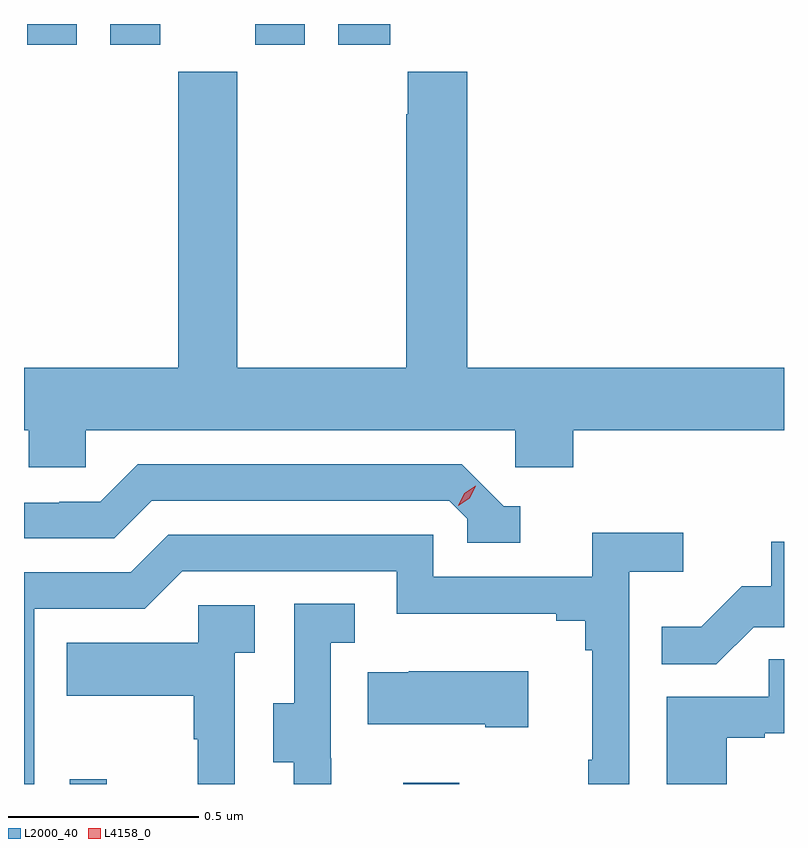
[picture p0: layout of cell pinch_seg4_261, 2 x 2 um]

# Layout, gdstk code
import gdstk
lib = gdstk.Library(unit=1e-6, precision=1e-09)
def R(c, l, rs):  # rectangles x0, y0, x1, y1
    for r in rs: c.add(gdstk.rectangle(r[:2], r[2:], *l))
def P(c, l, *ps):  # polygons
    for p in ps: c.add(gdstk.Polygon(p, *l))
L2000_40 = (2000, 40)
L4158_0 = (4158, 0)

pinch_seg4_261 = lib.new_cell('pinch_seg4_261')
R(pinch_seg4_261, L2000_40, [(934.557,817.201,934.655,817.213), (935.435,817.201,935.583,817.204), (934.445,819.147,934.576,819.201), (934.664,819.147,934.795,819.201), (935.045,819.147,935.176,819.201), (935.264,819.147,935.401,819.201)])
P(pinch_seg4_261, L2000_40, [(935.73,818.034),(935.882,818.034),(935.882,818.132),(936.437,818.132),(936.437,818.296),(935.603,818.296),(935.603,819.076),(935.447,819.076),(935.447,818.963),(935.443,818.963),(935.443,818.296),(934.998,818.296),(934.998,819.076),(934.843,819.076),(934.843,818.296),(934.437,818.296),(934.437,818.132),(934.449,818.132),(934.449,818.034),(934.599,818.034),(934.599,818.132),(935.73,818.132)],
  [(935.743,817.932),(935.7,817.932),(935.589,818.043),(934.736,818.043),(934.637,817.944),(934.53,817.944),(934.53,817.941),(934.437,817.941),(934.437,817.848),(934.674,817.848),(934.773,817.947),(935.556,817.947),(935.604,817.899),(935.604,817.836),(935.743,817.836)],
  [(934.464,817.662),(934.755,817.662),(934.854,817.761),(935.418,817.761),(935.418,817.649),(935.837,817.649),(935.837,817.63),(935.914,817.63),(935.914,817.553),(935.933,817.553),(935.933,817.265),(935.922,817.265),(935.922,817.201),(936.03,817.201),(936.03,817.76),(936.172,817.76),(936.172,817.862),(935.933,817.862),(935.933,817.746),(935.514,817.746),(935.514,817.857),(934.817,817.857),(934.718,817.758),(934.437,817.758),(934.437,817.201),(934.464,817.201)],
  [(936.357,817.614),(936.437,817.614),(936.437,817.839),(936.403,817.839),(936.403,817.722),(936.326,817.722),(936.219,817.615),(936.115,817.615),(936.115,817.516),(936.259,817.516)],
  [(935.246,817.269),(935.244,817.269),(935.244,817.573),(935.308,817.573),(935.308,817.676),(935.148,817.676),(935.148,817.413),(935.093,817.413),(935.093,817.258),(935.147,817.258),(935.147,817.201),(935.246,817.201)],
  [(934.992,817.547),(935.044,817.547),(935.044,817.671),(934.896,817.671),(934.896,817.573),(934.549,817.573),(934.549,817.433),(934.884,817.433),(934.884,817.319),(934.894,817.319),(934.894,817.201),(934.992,817.201)],
  [(936.286,817.323),(936.386,817.323),(936.386,817.335),(936.437,817.335),(936.437,817.529),(936.397,817.529),(936.397,817.431),(936.128,817.431),(936.128,817.201),(936.286,817.201)],
  [(935.764,817.498),(935.449,817.498),(935.449,817.495),(935.341,817.495),(935.341,817.358),(935.651,817.358),(935.651,817.351),(935.764,817.351)])
P(pinch_seg4_261, L4158_0, [(935.58,817.933),(935.58,817.934),(935.595,817.966),(935.626,817.986),(935.626,817.986),(935.626,817.986),(935.61,817.953),(935.58,817.933)])

lib.write_gds('pinch_seg4_261.gds')
